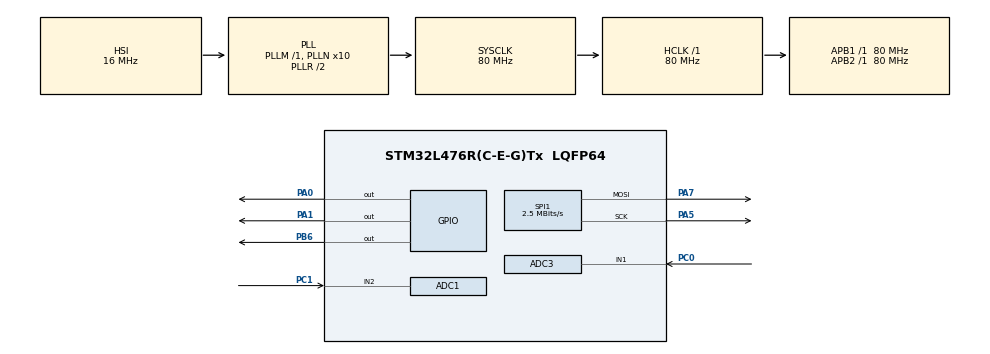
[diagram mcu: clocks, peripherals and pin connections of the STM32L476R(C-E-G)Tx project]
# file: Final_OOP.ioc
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ADC1.Channel-0\#ChannelRegularConversion=ADC_CHANNEL_2
ADC1.NbrOfConversionFlag=1
ADC1.OffsetNumber-0\#ChannelRegularConversion=ADC_OFFSET_NONE
ADC1.Rank-0\#ChannelRegularConversion=1
ADC1.SamplingTime-0\#ChannelRegularConversion=ADC_SAMPLETIME_2CYCLES_5
ADC1.master=1
ADC3.Channel-0\#ChannelRegularConversion=ADC_CHANNEL_1
ADC3.NbrOfConversionFlag=1
ADC3.OffsetNumber-0\#ChannelRegularConversion=ADC_OFFSET_NONE
ADC3.Rank-0\#ChannelRegularConversion=1
ADC3.SamplingTime-0\#ChannelRegularConversion=ADC_SAMPLETIME_2CYCLES_5
Mcu.Family=STM32L4
Mcu.Name=STM32L476R(C-E-G)Tx
Mcu.Package=LQFP64
NVIC.PriorityGroup=NVIC_PRIORITYGROUP_4
NVIC.TIM1_UP_TIM16_IRQn=true\:0\:0\:false\:false\:true\:true\:true\:true
PA0.Signal=GPIO_Output
PA1.Signal=GPIO_Output
PA13\ (JTMS-SWDIO).GPIO_Label=TMS
PA13\ (JTMS-SWDIO).Mode=Serial_Wire
PA13\ (JTMS-SWDIO).Signal=SYS_JTMS-SWDIO
PA14\ (JTCK-SWCLK).GPIO_Label=TCK
PA14\ (JTCK-SWCLK).Mode=Serial_Wire
PA14\ (JTCK-SWCLK).Signal=SYS_JTCK-SWCLK
PA5.Mode=TX_Only_Simplex_Unidirect_Master
PA5.Signal=SPI1_SCK
PA7.Mode=TX_Only_Simplex_Unidirect_Master
PA7.Signal=SPI1_MOSI
PB3\ (JTDO-TRACESWO).GPIO_Label=SWO
PB3\ (JTDO-TRACESWO).Signal=SYS_JTDO-SWO
PB6.Signal=GPIO_Output
PC0.Signal=ADCx_IN1
PC1.Signal=ADCx_IN2
PC14-OSC32_IN\ (PC14).Mode=LSE-External-Oscillator
PC14-OSC32_IN\ (PC14).Signal=RCC_OSC32_IN
PC15-OSC32_OUT\ (PC15).Mode=LSE-External-Oscillator
PC15-OSC32_OUT\ (PC15).Signal=RCC_OSC32_OUT
PH0-OSC_IN\ (PH0).Signal=RCC_OSC_IN
PH1-OSC_OUT\ (PH1).Signal=RCC_OSC_OUT
ProjectManager.HeapSize=0x200
ProjectManager.StackSize=0x400
ProjectManager.TargetToolchain=STM32CubeIDE
RCC.ADCFreq_Value=64000000
RCC.AHBFreq_Value=80000000
RCC.APB1Freq_Value=80000000
RCC.APB1TimFreq_Value=80000000
RCC.APB2Freq_Value=80000000
RCC.APB2TimFreq_Value=80000000
RCC.CortexFreq_Value=80000000
RCC.HCLKFreq_Value=80000000
RCC.HSE_VALUE=8000000
RCC.HSI_VALUE=16000000
RCC.MSI_VALUE=4000000
RCC.PLLN=10
RCC.PLLSourceVirtual=RCC_PLLSOURCE_HSI
RCC.PREFETCH_ENABLE=1
RCC.SYSCLKFreq_VALUE=80000000
RCC.SYSCLKSource=RCC_SYSCLKSOURCE_PLLCLK
RCC.USBFreq_Value=64000000
RCC.VCOOutputFreq_Value=160000000
SH.ADCx_IN1.0=ADC3_IN1,IN1-Single-Ended
SH.ADCx_IN2.0=ADC1_IN2,IN2-Single-Ended
SPI1.BaudRatePrescaler=SPI_BAUDRATEPRESCALER_32
SPI1.CalculateBaudRate=2.5 MBits/s
SPI1.DataSize=SPI_DATASIZE_8BIT
SPI1.Direction=SPI_DIRECTION_2LINES
SPI1.Mode=SPI_MODE_MASTER
SPI1.VirtualType=VM_MASTER
TIM16.Period=9999
TIM16.Prescaler=7999
VP_TIM16_VS_ClockSourceINT.Mode=Enable_Timer
board=NUCLEO-L476RG

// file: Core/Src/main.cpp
/* USER CODE BEGIN Header */
/**
 ******************************************************************************
 * @file           : main.c
 * @brief          : Main program body
 ******************************************************************************
 * @attention
 *
 * Copyright (c) 2023 STMicroelectronics.
 * All rights reserved.
 *
 * This software is licensed under terms that can be found in the LICENSE file
 * in the root directory of this software component.
 * If no LICENSE file comes with this software, it is provided AS-IS.
 *
 ******************************************************************************
 */
/* USER CODE END Header */
#include "main.h"

/* USER CODE BEGIN Includes */
#include "../objects/screen.h"
#include "../objects/input.h"
/* USER CODE END Includes */

/* USER CODE BEGIN PM */
#define CE_PORT GPIOB // PB6 chip enable (aka slave select)
#define CE_PIN GPIO_PIN_6
#define DC_PORT GPIOA // PA0 data/control
#define DC_PIN GPIO_PIN_0
#define RESET_PORT GPIOA // PA1 reset
#define RESET_PIN GPIO_PIN_1
#define GLCD_WIDTH 84
#define GLCD_HEIGHT 48
#define NUM_BANKS 6

#define GAME_LENGTH 30 // In seconds

/* USER CODE END PM */

ADC_HandleTypeDef hadc1;
ADC_HandleTypeDef hadc3;

SPI_HandleTypeDef hspi1;

TIM_HandleTypeDef htim16;
/* USER CODE BEGIN PV */
size_t tim_counter = 0;
size_t score = GAME_LENGTH;

Screen screen(hspi1);
Input input(hadc1, hadc3);
/* USER CODE END PV */

void SystemClock_Config(void);
void PeriphCommonClock_Config(void);
static void MX_GPIO_Init(void);
static void MX_ADC1_Init(void);
static void MX_ADC3_Init(void);
static void MX_SPI1_Init(void);
static void MX_TIM16_Init(void);

int main(void)
{

  /* MCU Configuration--------------------------------------------------------*/

  /* Reset of all peripherals, Initializes the Flash interface and the Systick. */
  HAL_Init();

  /* Configure the system clock */
  SystemClock_Config();

/* Configure the peripherals common clocks */
  PeriphCommonClock_Config();

  /* Initialize all configured peripherals */
  MX_GPIO_Init();
  MX_ADC1_Init();
  MX_ADC3_Init();
  MX_SPI1_Init();
  MX_TIM16_Init();
  /* USER CODE BEGIN 2 */

    // Start Timer
  	HAL_TIM_Base_Start_IT(&htim16); // Start timer

  	// Init screen (& display)
  	screen.initScreen();

  	// Player start position
  	enum direction {UP, DOWN, LEFT, RIGHT};
	size_t x = 42;
	size_t y = 24;
	direction movementDirection = UP;
  /* USER CODE END 2 */

  /* Infinite loop */
  /* USER CODE BEGIN WHILE */
	while (1) {

		// Start ADC Conversions
		input.inputStart();

		// Update position

		// Change direction (Don't allow immediate reversal)
		if(input.isUp() && movementDirection != DOWN)
		{
			movementDirection = UP;
		}
		if(input.isDown() && movementDirection != UP)
		{
			movementDirection = DOWN;
		}
		if(input.isRight() && movementDirection != LEFT)
		{
			movementDirection = RIGHT;
		}
		else if(input.isLeft() && movementDirection != RIGHT)
		{
			movementDirection = LEFT;
		}

		// Increase position based on direction.
		switch (movementDirection)
		{
			case UP:
				if (y > 0)
					y--;
				break;
			case DOWN:
				if (y < GLCD_HEIGHT - 1)
					y++;
				break;
			case RIGHT:
				if (x < GLCD_WIDTH - 1)
					x++;
				break;
			case LEFT:
				if (x > 0)
					x--;
				break;
		}

		// Check for collisions.
		if(screen.pixelTaken(x, y))
		{
			while(1)
				screen.displayGameOver(score);
		}

		// Apply the pixel to the screen.
		screen.setPixel(x, y);

		// Draw Screen
		screen.displayScreen(score);

		// Delay to avoid super-speed.
		HAL_Delay(100);
    /* USER CODE END WHILE */

	}
}

void SystemClock_Config(void)
{
  RCC_OscInitTypeDef RCC_OscInitStruct = {0};
  RCC_ClkInitTypeDef RCC_ClkInitStruct = {0};

  /** Configure the main internal regulator output voltage
  */
  if (HAL_PWREx_ControlVoltageScaling(PWR_REGULATOR_VOLTAGE_SCALE1) != HAL_OK)
  {
    Error_Handler();
  }

  /** Initializes the RCC Oscillators according to the specified parameters
  * in the RCC_OscInitTypeDef structure.
  */
  RCC_OscInitStruct.OscillatorType = RCC_OSCILLATORTYPE_HSI;
  RCC_OscInitStruct.HSIState = RCC_HSI_ON;
  RCC_OscInitStruct.HSICalibrationValue = RCC_HSICALIBRATION_DEFAULT;
  RCC_OscInitStruct.PLL.PLLState = RCC_PLL_ON;
  RCC_OscInitStruct.PLL.PLLSource = RCC_PLLSOURCE_HSI;
  RCC_OscInitStruct.PLL.PLLM = 1;
  RCC_OscInitStruct.PLL.PLLN = 10;
  RCC_OscInitStruct.PLL.PLLP = RCC_PLLP_DIV7;
  RCC_OscInitStruct.PLL.PLLQ = RCC_PLLQ_DIV2;
  RCC_OscInitStruct.PLL.PLLR = RCC_PLLR_DIV2;
  if (HAL_RCC_OscConfig(&RCC_OscInitStruct) != HAL_OK)
  {
    Error_Handler();
  }

  /** Initializes the CPU, AHB and APB buses clocks
  */
  RCC_ClkInitStruct.ClockType = RCC_CLOCKTYPE_HCLK|RCC_CLOCKTYPE_SYSCLK
                              |RCC_CLOCKTYPE_PCLK1|RCC_CLOCKTYPE_PCLK2;
  RCC_ClkInitStruct.SYSCLKSource = RCC_SYSCLKSOURCE_PLLCLK;
  RCC_ClkInitStruct.AHBCLKDivider = RCC_SYSCLK_DIV1;
  RCC_ClkInitStruct.APB1CLKDivider = RCC_HCLK_DIV1;
  RCC_ClkInitStruct.APB2CLKDivider = RCC_HCLK_DIV1;

  if (HAL_RCC_ClockConfig(&RCC_ClkInitStruct, FLASH_LATENCY_4) != HAL_OK)
  {
    Error_Handler();
  }
}

void PeriphCommonClock_Config(void)
{
  RCC_PeriphCLKInitTypeDef PeriphClkInit = {0};

  /** Initializes the peripherals clock
  */
  PeriphClkInit.PeriphClockSelection = RCC_PERIPHCLK_ADC;
  PeriphClkInit.AdcClockSelection = RCC_ADCCLKSOURCE_PLLSAI1;
  PeriphClkInit.PLLSAI1.PLLSAI1Source = RCC_PLLSOURCE_HSI;
  PeriphClkInit.PLLSAI1.PLLSAI1M = 1;
  PeriphClkInit.PLLSAI1.PLLSAI1N = 8;
  PeriphClkInit.PLLSAI1.PLLSAI1P = RCC_PLLP_DIV7;
  PeriphClkInit.PLLSAI1.PLLSAI1Q = RCC_PLLQ_DIV2;
  PeriphClkInit.PLLSAI1.PLLSAI1R = RCC_PLLR_DIV2;
  PeriphClkInit.PLLSAI1.PLLSAI1ClockOut = RCC_PLLSAI1_ADC1CLK;
  if (HAL_RCCEx_PeriphCLKConfig(&PeriphClkInit) != HAL_OK)
  {
    Error_Handler();
  }
}

static void MX_ADC1_Init(void)
{

  ADC_MultiModeTypeDef multimode = {0};
  ADC_ChannelConfTypeDef sConfig = {0};

  /** Common config
  */
  hadc1.Instance = ADC1;
  hadc1.Init.ClockPrescaler = ADC_CLOCK_ASYNC_DIV1;
  hadc1.Init.Resolution = ADC_RESOLUTION_12B;
  hadc1.Init.DataAlign = ADC_DATAALIGN_RIGHT;
  hadc1.Init.ScanConvMode = ADC_SCAN_DISABLE;
  hadc1.Init.EOCSelection = ADC_EOC_SINGLE_CONV;
  hadc1.Init.LowPowerAutoWait = DISABLE;
  hadc1.Init.ContinuousConvMode = DISABLE;
  hadc1.Init.NbrOfConversion = 1;
  hadc1.Init.DiscontinuousConvMode = DISABLE;
  hadc1.Init.ExternalTrigConv = ADC_SOFTWARE_START;
  hadc1.Init.ExternalTrigConvEdge = ADC_EXTERNALTRIGCONVEDGE_NONE;
  hadc1.Init.DMAContinuousRequests = DISABLE;
  hadc1.Init.Overrun = ADC_OVR_DATA_PRESERVED;
  hadc1.Init.OversamplingMode = DISABLE;
  if (HAL_ADC_Init(&hadc1) != HAL_OK)
  {
    Error_Handler();
  }

  /** Configure the ADC multi-mode
  */
  multimode.Mode = ADC_MODE_INDEPENDENT;
  if (HAL_ADCEx_MultiModeConfigChannel(&hadc1, &multimode) != HAL_OK)
  {
    Error_Handler();
  }

  /** Configure Regular Channel
  */
  sConfig.Channel = ADC_CHANNEL_2;
  sConfig.Rank = ADC_REGULAR_RANK_1;
  sConfig.SamplingTime = ADC_SAMPLETIME_2CYCLES_5;
  sConfig.SingleDiff = ADC_SINGLE_ENDED;
  sConfig.OffsetNumber = ADC_OFFSET_NONE;
  sConfig.Offset = 0;
  if (HAL_ADC_ConfigChannel(&hadc1, &sConfig) != HAL_OK)
  {
    Error_Handler();
  }

}

static void MX_ADC3_Init(void)
{

  ADC_ChannelConfTypeDef sConfig = {0};

  /** Common config
  */
  hadc3.Instance = ADC3;
  hadc3.Init.ClockPrescaler = ADC_CLOCK_ASYNC_DIV1;
  hadc3.Init.Resolution = ADC_RESOLUTION_12B;
  hadc3.Init.DataAlign = ADC_DATAALIGN_RIGHT;
  hadc3.Init.ScanConvMode = ADC_SCAN_DISABLE;
  hadc3.Init.EOCSelection = ADC_EOC_SINGLE_CONV;
  hadc3.Init.LowPowerAutoWait = DISABLE;
  hadc3.Init.ContinuousConvMode = DISABLE;
  hadc3.Init.NbrOfConversion = 1;
  hadc3.Init.DiscontinuousConvMode = DISABLE;
  hadc3.Init.ExternalTrigConv = ADC_SOFTWARE_START;
  hadc3.Init.ExternalTrigConvEdge = ADC_EXTERNALTRIGCONVEDGE_NONE;
  hadc3.Init.DMAContinuousRequests = DISABLE;
  hadc3.Init.Overrun = ADC_OVR_DATA_PRESERVED;
  hadc3.Init.OversamplingMode = DISABLE;
  if (HAL_ADC_Init(&hadc3) != HAL_OK)
  {
    Error_Handler();
  }

  /** Configure Regular Channel
  */
  sConfig.Channel = ADC_CHANNEL_1;
  sConfig.Rank = ADC_REGULAR_RANK_1;
  sConfig.SamplingTime = ADC_SAMPLETIME_2CYCLES_5;
  sConfig.SingleDiff = ADC_SINGLE_ENDED;
  sConfig.OffsetNumber = ADC_OFFSET_NONE;
  sConfig.Offset = 0;
  if (HAL_ADC_ConfigChannel(&hadc3, &sConfig) != HAL_OK)
  {
    Error_Handler();
  }

}

static void MX_SPI1_Init(void)
{

  /* SPI1 parameter configuration*/
  hspi1.Instance = SPI1;
  hspi1.Init.Mode = SPI_MODE_MASTER;
  hspi1.Init.Direction = SPI_DIRECTION_2LINES;
  hspi1.Init.DataSize = SPI_DATASIZE_8BIT;
  hspi1.Init.CLKPolarity = SPI_POLARITY_LOW;
  hspi1.Init.CLKPhase = SPI_PHASE_1EDGE;
  hspi1.Init.NSS = SPI_NSS_SOFT;
  hspi1.Init.BaudRatePrescaler = SPI_BAUDRATEPRESCALER_32;
  hspi1.Init.FirstBit = SPI_FIRSTBIT_MSB;
  hspi1.Init.TIMode = SPI_TIMODE_DISABLE;
  hspi1.Init.CRCCalculation = SPI_CRCCALCULATION_DISABLE;
  hspi1.Init.CRCPolynomial = 7;
  hspi1.Init.CRCLength = SPI_CRC_LENGTH_DATASIZE;
  hspi1.Init.NSSPMode = SPI_NSS_PULSE_ENABLE;
  if (HAL_SPI_Init(&hspi1) != HAL_OK)
  {
    Error_Handler();
  }

}

static void MX_TIM16_Init(void)
{

  htim16.Instance = TIM16;
  htim16.Init.Prescaler = 7999;
  htim16.Init.CounterMode = TIM_COUNTERMODE_UP;
  htim16.Init.Period = 9999;
  htim16.Init.ClockDivision = TIM_CLOCKDIVISION_DIV1;
  htim16.Init.RepetitionCounter = 0;
  htim16.Init.AutoReloadPreload = TIM_AUTORELOAD_PRELOAD_DISABLE;
  if (HAL_TIM_Base_Init(&htim16) != HAL_OK)
  {
    Error_Handler();
  }

}

static void MX_GPIO_Init(void)
{
  GPIO_InitTypeDef GPIO_InitStruct = {0};

  /* GPIO Ports Clock Enable */
  __HAL_RCC_GPIOC_CLK_ENABLE();
  __HAL_RCC_GPIOH_CLK_ENABLE();
  __HAL_RCC_GPIOA_CLK_ENABLE();
  __HAL_RCC_GPIOB_CLK_ENABLE();

  /*Configure GPIO pin Output Level */
  HAL_GPIO_WritePin(GPIOA, GPIO_PIN_0|GPIO_PIN_1, GPIO_PIN_RESET);

  /*Configure GPIO pin Output Level */
  HAL_GPIO_WritePin(GPIOB, GPIO_PIN_6, GPIO_PIN_RESET);

  /*Configure GPIO pins : PA0 PA1 */
  GPIO_InitStruct.Pin = GPIO_PIN_0|GPIO_PIN_1;
  GPIO_InitStruct.Mode = GPIO_MODE_OUTPUT_PP;
  GPIO_InitStruct.Pull = GPIO_NOPULL;
  GPIO_InitStruct.Speed = GPIO_SPEED_FREQ_LOW;
  HAL_GPIO_Init(GPIOA, &GPIO_InitStruct);

  /*Configure GPIO pin : PB6 */
  GPIO_InitStruct.Pin = GPIO_PIN_6;
  GPIO_InitStruct.Mode = GPIO_MODE_OUTPUT_PP;
  GPIO_InitStruct.Pull = GPIO_NOPULL;
  GPIO_InitStruct.Speed = GPIO_SPEED_FREQ_LOW;
  HAL_GPIO_Init(GPIOB, &GPIO_InitStruct);

}

/* USER CODE BEGIN 4 */
// Callback: timer has rolled over
void HAL_TIM_PeriodElapsedCallback(TIM_HandleTypeDef *htim)
{
	// Check which version of the timer triggered this callback and toggle LED
	if (htim == &htim16)
	{
		tim_counter++;
		score--;
		// Check for gameover.
		if(tim_counter >= GAME_LENGTH)
		{
			screen.displayGameOver(score); // To Do: Replace stand-in for score.
		}
	}
}

/* USER CODE END 4 */

void Error_Handler(void)
{
	__disable_irq();
	while (1) {
	}
}
